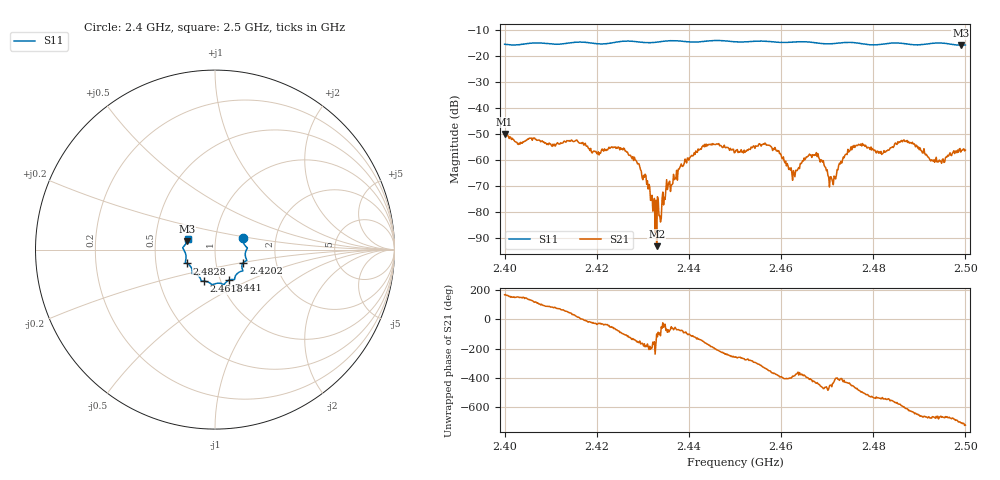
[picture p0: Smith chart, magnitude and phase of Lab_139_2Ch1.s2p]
# Hz S RI R 50
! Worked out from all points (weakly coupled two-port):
!   601 points, 2.4 GHz to 2.5 GHz, reference 50 ohm
!   highest |S21| = -49.97 dB at 2.4 GHz (marker M1); lowest = -93.2 dB at 2.433 GHz (marker M2)
!   lowest |S11| = -15.8 dB at 2.499 GHz (marker M3), VSWR 1.39, Z = 36.4 + j3.53 ohm
!   |S11| at or under -10 dB: start of sweep to end of sweep
!   S12 and S22 are empty: the file has one direction only
!   S11 on the Smith chart (normalised r, x): 2.4 GHz: 1.36, +0.17; 2.4202 GHz: 1.36, -0.20; 2.441 GHz: 1.10, -0.39; 2.4618 GHz: 0.84, -0.30; 2.4828 GHz: 0.72, -0.11; 2.5 GHz: 0.73, +0.09
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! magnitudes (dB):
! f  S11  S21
! 2.4 GHz  -15.4  -50.0
! 2.4167 GHz  -14.6  -53.6
! 2.4202 GHz  -15.2  -57.7
! 2.4263 GHz  -14.2  -56.6
! 2.4287 GHz  -14.4  -60.6
! 2.433 GHz  -14.6  -93.2
! 2.4333 GHz  -14.5  -75.1
! 2.441 GHz  -14.6  -58.2
! 2.4447 GHz  -14.0  -54.1
! 2.45 GHz  -14.4  -57.1
! 2.457 GHz  -14.3  -54.2
! 2.4618 GHz  -14.6  -63.1
! 2.463 GHz  -14.5  -66.4
! 2.4667 GHz  -14.6  -59.0
! 2.4708 GHz  -15.2  -66.4
! 2.476 GHz  -14.8  -55.1
! 2.4828 GHz  -15.1  -56.4
! 2.4833 GHz  -15.0  -56.2
! 2.4872 GHz  -15.2  -52.9
! 2.4943 GHz  -14.9  -60.0
! 2.499 GHz  -15.8  -56.9
! 2.5 GHz  -15.7  -56.1
